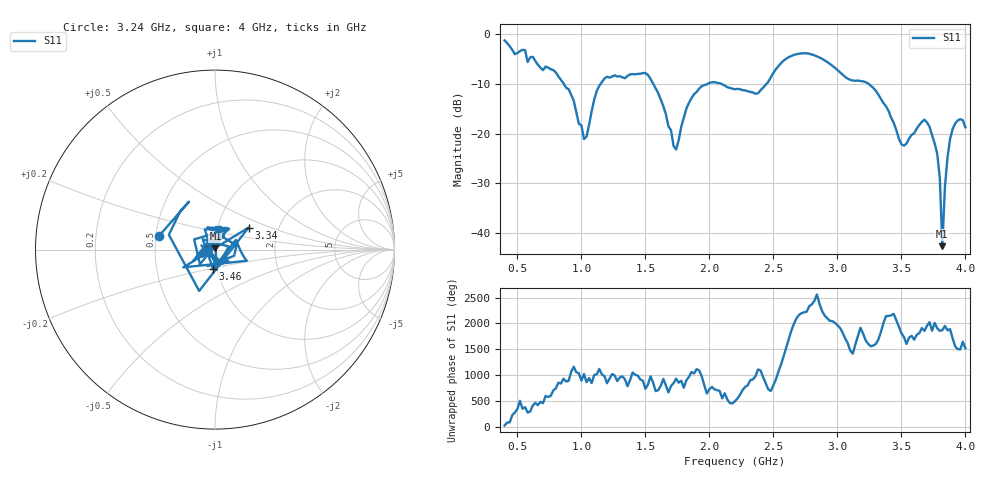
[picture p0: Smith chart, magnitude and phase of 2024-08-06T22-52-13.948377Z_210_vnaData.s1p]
!Created with skrf (http://scikit-rf.org).
# Hz S RI R 50.0
!freq ReS11 ImS11
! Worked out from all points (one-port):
!   181 points, 400 MHz to 4 GHz, reference 50 ohm
!   lowest |S11| = -42.7 dB at 3.82 GHz (marker M1), VSWR 1.01, Z = 50.2 + j0.687 ohm
!   |S11| at or under -10 dB: 1.562 GHz to 1.986 GHz (423.9 MHz wide, 23.9 % of centre); 2.094 GHz to 2.445 GHz (351.4 MHz wide, 15.5 % of centre); 3.245 GHz to end of sweep (the widest 3 of 4)
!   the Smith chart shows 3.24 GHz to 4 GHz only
!   S11 on the Smith chart (normalised r, x): 3.24 GHz: 0.52, +0.09; 3.34 GHz: 1.41, +0.36; 3.46 GHz: 0.96, -0.21; 4 GHz: 1.01, +0.23
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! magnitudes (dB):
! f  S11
! 400 MHz  -1.2
! 860 MHz  -9.9
! 1.02 GHz  -21.1
! 1.14 GHz  -10.4
! 1.3 GHz  -8.4
! 1.52 GHz  -8.2
! 1.64 GHz  -14.5
! 1.72 GHz  -22.5
! 1.76 GHz  -21.4
! 1.82 GHz  -15.0
! 1.94 GHz  -10.4
! 2.2 GHz  -11.1
! 2.38 GHz  -11.9
! 2.66 GHz  -4.1
! 3.1 GHz  -9.2
! 3.24 GHz  -9.9
! 3.34 GHz  -13.0
! 3.46 GHz  -19.3
! 3.5 GHz  -22.2
! 3.56 GHz  -21.0
! 3.72 GHz  -18.6
! 3.78 GHz  -24.1
! 3.8 GHz  -28.9
! 3.82 GHz  -42.7
! 3.84 GHz  -30.8
! 3.88 GHz  -21.2
! 3.94 GHz  -17.4
! 4 GHz  -18.7
